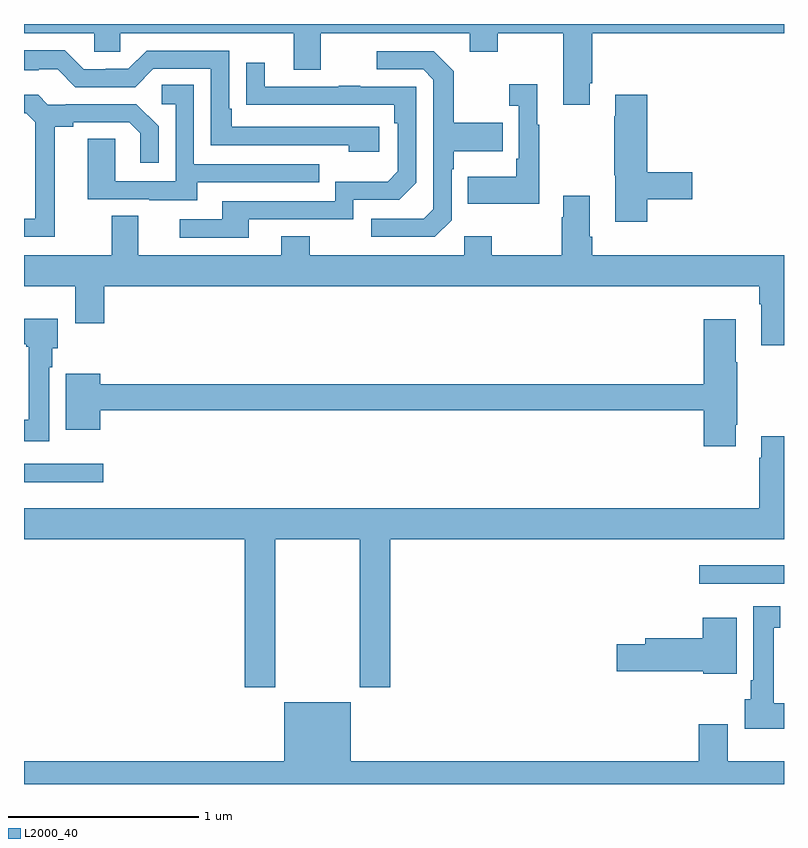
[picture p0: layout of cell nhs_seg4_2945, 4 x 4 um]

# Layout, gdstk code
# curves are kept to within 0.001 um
import gdstk
lib = gdstk.Library(unit=1e-6, precision=1e-09)
def R(c, l, rs):  # rectangles x0, y0, x1, y1
    for r in rs: c.add(gdstk.rectangle(r[:2], r[2:], *l))
def P(c, l, *ps):  # polygons
    for p in ps: c.add(gdstk.Polygon(p, *l))
L2000_40 = (2000, 40)

nhs_seg4_2945 = lib.new_cell('nhs_seg4_2945')
R(nhs_seg4_2945, L2000_40, [(270.555,761.955,271,762.052), (267,762.488,267.418,762.585)])
P(nhs_seg4_2945, L2000_40, [(269.977,764.587),(269.99,764.587),(269.99,764.852),(271,764.852),(271,764.9),(267,764.9),(267,764.852),(267.369,764.852),(267.369,764.754),(267.507,764.754),(267.507,764.852),(268.421,764.852),(268.421,764.658),(268.561,764.658),(268.561,764.852),(269.345,764.852),(269.345,764.753),(269.493,764.753),(269.493,764.852),(269.837,764.852),(269.837,764.475),(269.977,764.475)],
  [(268.87,764.358),(268.093,764.358),(268.093,764.455),(268.08,764.455),(268.08,764.76),(267.645,764.76),(267.549,764.664),(267.431,764.664),(267.431,764.661),(267.315,764.661),(267.215,764.761),(267,764.761),(267,764.657),(267.077,764.657),(267.077,764.661),(267.177,764.661),(267.27,764.568),(267.585,764.568),(267.681,764.664),(267.984,764.664),(267.984,764.262),(268.709,764.262),(268.709,764.228),(268.87,764.228)],
  [(269.25,763.866),(269.25,764.135),(269.263,764.135),(269.263,764.231),(269.519,764.231),(269.519,764.379),(269.263,764.379),(269.263,764.651),(269.157,764.757),(268.857,764.757),(268.857,764.661),(269.1,764.661),(269.154,764.607),(269.154,763.926),(269.103,763.875),(268.827,763.875),(268.827,763.779),(269.163,763.779)],
  [(268.183,763.872),(268.734,763.872),(268.734,763.974),(268.974,763.974),(269.064,764.064),(269.064,764.571),(268.769,764.571),(268.769,764.576),(268.657,764.576),(268.657,764.571),(268.267,764.571),(268.267,764.695),(268.171,764.695),(268.171,764.476),(268.948,764.475),(268.948,764.378),(268.968,764.378),(268.968,764.124),(268.915,764.071),(268.638,764.071),(268.638,763.968),(268.043,763.968),(268.043,763.872),(267.819,763.872),(267.819,763.776),(268.183,763.776)],
  [(269.713,764.371),(269.701,764.371),(269.701,764.584),(269.553,764.584),(269.553,764.471),(269.604,764.471),(269.604,764.191),(269.592,764.191),(269.592,764.095),(269.335,764.095),(269.335,763.955),(269.713,763.955)],
  [(267.913,764.067),(268.553,764.067),(268.553,764.163),(267.894,764.163),(267.894,764.579),(267.726,764.579),(267.726,764.478),(267.798,764.478),(267.798,764.073),(267.48,764.073),(267.48,764.297),(267.335,764.297),(267.335,763.977),(267.659,763.977),(267.659,763.973),(267.913,763.973)],
  [(267.163,764.36),(267.259,764.36),(267.259,764.382),(267.554,764.382),(267.611,764.325),(267.611,764.169),(267.708,764.169),(267.708,764.362),(267.592,764.478),(267.22,764.478),(267.22,764.475),(267.126,764.475),(267.074,764.527),(267,764.527),(267,764.43),(267.012,764.43),(267.059,764.383),(267.059,763.875),(267,763.875),(267,763.779),(267.163,763.779)],
  [(270.281,763.978),(270.517,763.978),(270.517,764.12),(270.281,764.12),(270.281,764.527),(270.113,764.527),(270.113,764.414),(270.106,764.414),(270.106,764.103),(270.113,764.103),(270.113,763.86),(270.281,763.86)],
  [(271,763.684),(269.99,763.684),(269.99,763.78),(269.977,763.78),(269.977,763.996),(269.837,763.996),(269.837,763.883),(269.83,763.883),(269.83,763.684),(269.463,763.684),(269.463,763.783),(269.316,763.783),(269.316,763.684),(268.503,763.684),(268.503,763.783),(268.355,763.783),(268.355,763.684),(267.601,763.684),(267.601,763.892),(267.461,763.892),(267.461,763.684),(267,763.684),(267,763.52),(267.269,763.52),(267.269,763.326),(267.422,763.326),(267.422,763.52),(270.869,763.52),(270.869,763.424),(270.881,763.424),(270.881,763.209),(271,763.209)],
  [(267.133,763.094),(267.148,763.094),(267.148,763.194),(267.178,763.194),(267.178,763.348),(267,763.348),(267,763.214),(267.013,763.214),(267.013,763.201),(267.026,763.201),(267.026,762.818),(267,762.818),(267,762.705),(267.133,762.705)],
  [(270.745,762.79),(270.753,762.79),(270.753,763.121),(270.745,763.121),(270.745,763.345),(270.578,763.345),(270.578,763.004),(267.4,763.004),(267.4,763.06),(267.221,763.06),(267.221,762.764),(267.4,762.764),(267.4,762.868),(270.578,762.868),(270.578,762.678),(270.745,762.678)],
  [(268.323,762.188),(268.768,762.188),(268.768,761.409),(268.928,761.409),(268.928,762.188),(271,762.188),(271,762.73),(270.881,762.73),(270.881,762.617),(270.869,762.617),(270.869,762.352),(267,762.352),(267,762.188),(268.163,762.188),(268.163,761.409),(268.323,761.409)],
  [(271,761.326),(270.946,761.326),(270.946,761.723),(270.979,761.723),(270.979,761.836),(270.839,761.836),(270.839,761.446),(270.824,761.446),(270.824,761.346),(270.794,761.346),(270.794,761.192),(271,761.192)],
  [(270.751,761.776),(270.572,761.776),(270.572,761.666),(270.269,761.666),(270.269,761.636),(270.12,761.636),(270.12,761.494),(270.576,761.494),(270.576,761.48),(270.751,761.48)],
  [(268.72,761.329),(268.37,761.329),(268.37,761.02),(267,761.02),(267,760.9),(271,760.9),(271,761.02),(270.703,761.02),(270.703,761.215),(270.551,761.215),(270.551,761.02),(268.72,761.02)])

lib.write_gds('nhs_seg4_2945.gds')
